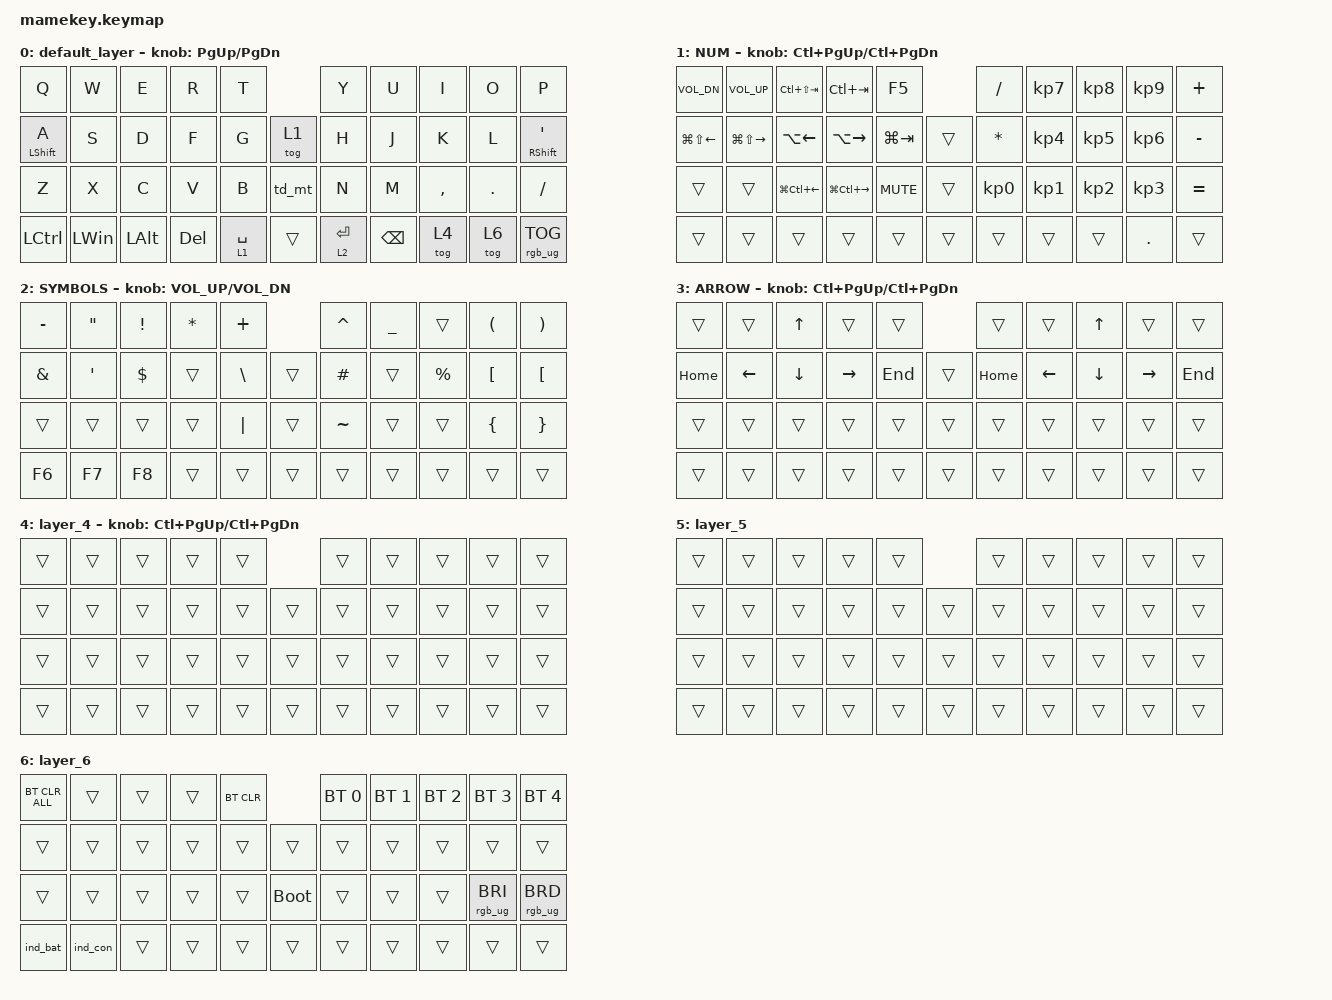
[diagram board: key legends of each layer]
#include <behaviors.dtsi>
#include <dt-bindings/zmk/keys.h>
#include <dt-bindings/zmk/bt.h>
#include <dt-bindings/zmk/outputs.h>
#include <dt-bindings/zmk/rgb.h>
#include <behaviors/rgbled_widget.dtsi>

#define NUM 6

&mt {
    flavor = "balanced";
    quick-tap-ms = <0>;
};

/ {
    combos {
        compatible = "zmk,combos";

        esc {
            bindings = <&kp ESC>;
            key-positions = <1 2>;
        };        

        shift_tab {
            bindings = <&kp LS(TAB)>;
            key-positions = <2 3>;
        };
        
        single_quotation {
            bindings = <&kp SINGLE_QUOTE>;
            key-positions = <6 7>;
        };
                       
        tab {
            bindings = <&kp TAB>;
            key-positions = <8 9>;
        };

        eq {
            bindings = <&kp EQUAL>;
            key-positions = <9 10>;
        };

        l3_arrow {
            bindings = <&mo 3>;
            key-positions = <13 14>;
        };
                        
        minus {
            bindings = <&kp MINUS>;
            key-positions = <20 21>;
        };

        ctrl_alt_del {
            bindings = <&kp LC(RA(DEL))>;
            key-positions = <22 23>;
        };

        atmark {
            bindings = <&kp AT_SIGN>;
            key-positions = <31 32>;
        };
    };

    behaviors {
        
        td_mt: tap_dance_mod_tap {
            compatible = "zmk,behavior-tap-dance";
            #binding-cells = <0>;
            tapping-term-ms = <200>;
            bindings = <&lt 3 LA(GRAVE)>, <&kp LC(SPC)>;
        };               
    };
    
    

    keymap {
        compatible = "zmk,keymap";

        default_layer {
            bindings = <
&kp Q             &kp W         &kp E         &kp R         &kp T                                  &kp Y               &kp U          &kp I        &kp O       &kp P
&mt LEFT_SHIFT A  &kp S         &kp D         &kp F         &kp G        &tog 1                    &kp H               &kp J          &kp K        &kp L       &mt RIGHT_SHIFT SQT
&kp Z             &kp X         &kp C         &kp V         &kp B        &td_mt                    &kp N               &kp M          &kp COMMA    &kp DOT     &kp SLASH
&kp LCTRL         &kp LEFT_WIN  &kp LEFT_ALT  &kp DEL       &lt 1 SPACE  &trans                    &lt 2 ENTER         &kp BACKSPACE  &tog 4       &tog 6      &rgb_ug RGB_TOG

            >;   

            sensor-bindings = <&inc_dec_kp PG_UP PAGE_DOWN>;
        };

                 NUM {
            bindings = <
&kp C_VOL_DN             &kp C_VOL_UP             &kp LC(LS(TAB))         &kp LC(TAB)              &kp F5               &kp SLASH        &kp KP_NUMBER_7  &kp KP_NUMBER_8  &kp KP_NUMBER_9  &kp PLUS
&kp LG(LS(LEFT_ARROW))   &kp LG(LS(RIGHT_ARROW))  &kp LA(LEFT_ARROW)      &kp LA(RIGHT_ARROW)      &kp LG(TAB)  &trans  &kp ASTERISK     &kp KP_NUMBER_4  &kp KP_NUMBER_5  &kp KP_NUMBER_6  &kp MINUS
&trans                   &trans                   &kp LG(LC(LEFT_ARROW))  &kp LG(LC(RIGHT_ARROW))  &kp C_MUTE   &trans  &kp KP_NUMBER_0  &kp KP_NUMBER_1  &kp KP_NUMBER_2  &kp KP_NUMBER_3  &kp EQUAL
&trans                   &trans                   &trans                  &trans                   &trans       &trans  &trans           &trans           &trans           &kp PERIOD       &trans

            >;
            
            sensor-bindings = <&inc_dec_kp LC(PAGE_UP) LC(PAGE_DOWN)>;

        };

              SYMBOLS {
            bindings = <
&kp MINUS      &kp DOUBLE_QUOTES  &kp EXCLAMATION  &kp ASTERISK  &kp PLUS                 &kp CARET  &kp UNDERSCORE   &trans        &kp LEFT_PARENTHESIS  &kp RIGHT_PARENTHESIS
&kp AMPERSAND  &kp SINGLE_QUOTE   &kp DOLLAR       &trans        &kp BACKSLASH   &trans   &kp HASH   &trans           &kp PERCENT   &kp LEFT_BRACKET      &kp LEFT_BRACKET
&trans         &trans             &trans           &trans        &kp PIPE        &trans   &kp TILDE  &trans           &trans        &kp LEFT_BRACE        &kp RIGHT_BRACE 
&kp F6         &kp F7             &kp F8           &trans        &trans          &trans   &trans     &trans           &trans        &trans                &trans 


            >;
            
            sensor-bindings = <&inc_dec_kp C_VOL_UP C_VOL_DN>;
        };

               ARROW {
            bindings = <
&trans    &trans          &kp UP_ARROW    &trans           &trans           &trans    &trans          &kp UP_ARROW    &trans           &trans
&kp HOME  &kp LEFT_ARROW  &kp DOWN_ARROW  &kp RIGHT_ARROW  &kp END  &trans  &kp HOME  &kp LEFT_ARROW  &kp DOWN_ARROW  &kp RIGHT_ARROW  &kp END 
&trans    &trans          &trans          &trans           &trans   &trans  &trans    &trans          &trans          &trans           &trans
&trans    &trans          &trans          &trans           &trans   &trans  &trans    &trans          &trans          &trans           &trans


            >;

            sensor-bindings = <&inc_dec_kp LC(PAGE_UP) LC(PAGE_DOWN)>;
        };
        
            layer_4 {
            bindings = <
&trans  &trans  &trans  &trans  &trans          &trans  &trans  &trans  &trans  &trans
&trans  &trans  &trans  &trans  &trans  &trans  &trans  &trans  &trans  &trans  &trans
&trans  &trans  &trans  &trans  &trans  &trans  &trans  &trans  &trans  &trans  &trans
&trans  &trans  &trans  &trans  &trans  &trans  &trans  &trans  &trans  &trans  &trans


            >;

            sensor-bindings = <&inc_dec_kp LC(PAGE_UP) LC(PAGE_DOWN)>;
        };
        
        layer_5 {
            bindings = <
&trans  &trans  &trans  &trans  &trans          &trans  &trans  &trans  &trans  &trans
&trans  &trans  &trans  &trans  &trans  &trans  &trans  &trans  &trans  &trans  &trans
&trans  &trans  &trans  &trans  &trans  &trans  &trans  &trans  &trans  &trans  &trans
&trans  &trans  &trans  &trans  &trans  &trans  &trans  &trans  &trans  &trans  &trans

            >;
        };

        layer_6 {
            bindings = <
&bt BT_CLR_ALL  &trans  &trans      &trans        &bt BT_CLR                 &bt BT_SEL 0  &bt BT_SEL 1  &bt BT_SEL 2  &bt BT_SEL 3     &bt BT_SEL 4
&trans  &trans        &trans        &trans        &trans        &trans       &trans        &trans        &trans        &trans           &trans
&trans  &trans        &trans        &trans        &trans        &bootloader  &trans        &trans        &trans        &rgb_ug RGB_BRI  &rgb_ug RGB_BRD
&ind_bat  &ind_con        &trans        &trans        &trans        &trans       &trans        &trans        &trans        &trans           &trans


            >;
        };        
     };   
};

/ {
    aliases {
        led-red = &led0;
        led-green = &led1;
        led-blue = &led2;
    };

    leds {
        compatible = "gpio-leds";
        status = "okay";
        led0: led_0 {
            gpios = <&gpio0 26 GPIO_ACTIVE_LOW>;  // red LED, connected to P0.26
        };
        led1: led_1 {
            gpios = <&gpio0 30 GPIO_ACTIVE_LOW>;  // green LED, connected to P0.30
        };
        led2: led_2 {
            gpios = <&gpio0 6 GPIO_ACTIVE_LOW>;  // blue LED, connected to P0.06
        };
    };
};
